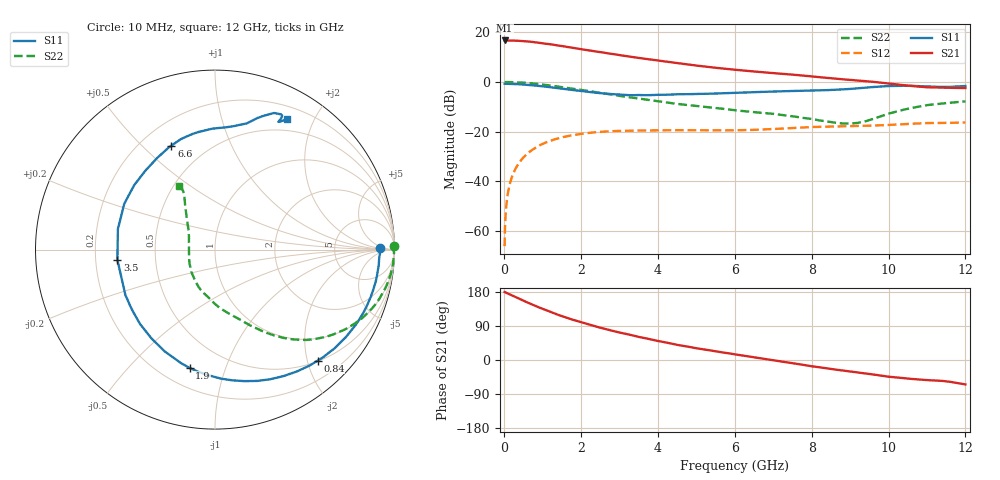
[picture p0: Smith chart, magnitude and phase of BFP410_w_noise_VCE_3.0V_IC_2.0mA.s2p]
! Infineon Technologies  Discrete & RF Semiconductors
! BFP410
! VCE =  3.0 V,  IC =  2.0 mA
! Common Emitter S-Parameters:  Nov 2015
# GHz  S  MA  R  50
!  f  S11  S21  S12  S22
! GHz  MAG  ANG  MAG  ANG  MAG  ANG  MAG  ANG
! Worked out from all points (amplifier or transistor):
!   243 points, 10 MHz to 12 GHz, reference 50 ohm
!   highest |S21| = 16.7 dB at 10 MHz (marker M1)
!   |S21| within 3 dB of that: start of sweep to 1.794 GHz
!   unconditionally stable (mu >= 1): 4.112 GHz to end of sweep
!   at 240 MHz: K = 0.04, MSG = 26.6 dB, |S12| = -36.7 dB
!   at 1.84 GHz: K = 0.37, MSG = 17.4 dB, |S12| = -21.2 dB
!   at 12 GHz: K = 1.15, MAG = 4.6 dB, |S12| = -16.3 dB
!   lowest NFmin = 0.82 dB at 900 MHz
!   S11 on the Smith chart (normalised r, x): 10 MHz: 24, +4; 840 MHz: 0.51, -2.19; 1.9 GHz: 0.31, -0.76; 3.5 GHz: 0.29, -0.05; 6.6 GHz: 0.32, +0.62; 12 GHz: 0.35, +1.64
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0.01  0.9218 0.7  6.838 179.4  0.0005 47.3  1 1.1
0.025  0.9202 -1.0  6.797 178.8  0.0015 86.1  0.9922 0.1
0.055  0.916 -3.1  6.792 177.0  0.0033 86.8  0.9976 -1.1
0.18  0.9135 -10.0  6.809 171.6  0.0111 83.9  0.9943 -5.0
0.48  0.8906 -27.1  6.653 157.6  0.0292 75.5  0.9701 -13.4
0.66  0.8682 -37.2  6.473 149.3  0.0393 69.9  0.9462 -18.4
0.84  0.8426 -47.2  6.241 141.6  0.049 64.7  0.9174 -23.0
1.06  0.8073 -59.3  5.938 132.5  0.0597 58.5  0.8765 -28.4
1.3  0.7685 -72.2  5.583 123.0  0.0699 52.0  0.8296 -33.7
1.6  0.7193 -87.5  5.128 112.3  0.0802 44.6  0.7693 -39.7
1.9  0.6745 -102.1  4.707 102.6  0.0884 38.2  0.7131 -44.9
2.02  0.6565 -107.6  4.539 99.0  0.0911 35.9  0.6918 -46.6
2.64  0.5836 -137.0  3.818 81.5  0.101 24.6  0.581 -55.4
3.5  0.5469 -174.1  3.049 60.9  0.1058 13.4  0.4626 -65.4
4.1  0.5528 164.9  2.639 48.4  0.107 8.2  0.399 -72.3
5  0.5758 141.5  2.14 31.0  0.107 2.1  0.3289 -84.8
6.1  0.6067 120.7  1.734 13.4  0.1072 -1.3  0.2656 -98.8
6.6  0.6283 112.7  1.601 5.6  0.1098 -2.1  0.2433 -107.2
8.2  0.6785 87.8  1.254 -19.2  0.1252 -8.7  0.1691 -144.4
9.2  0.7473 73.9  1.071 -32.9  0.1303 -13.2  0.1506 164.6
10.2  0.8338 65.3  0.897 -46.0  0.1394 -16.9  0.2538 129.1
12  0.8305 61.1  0.757 -64.4  0.1533 -29.4  0.4073 119.2
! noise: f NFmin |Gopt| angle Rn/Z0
0.45  0.86  0.5  7  0.29
0.9  0.82  0.48  21  0.27
1.8  1.05  0.37  55  0.23
2.4  1.09  0.36  63  0.19
5.5  2.24  0.36  -145  0.21
10  3.98  0.7  -56  2.38
